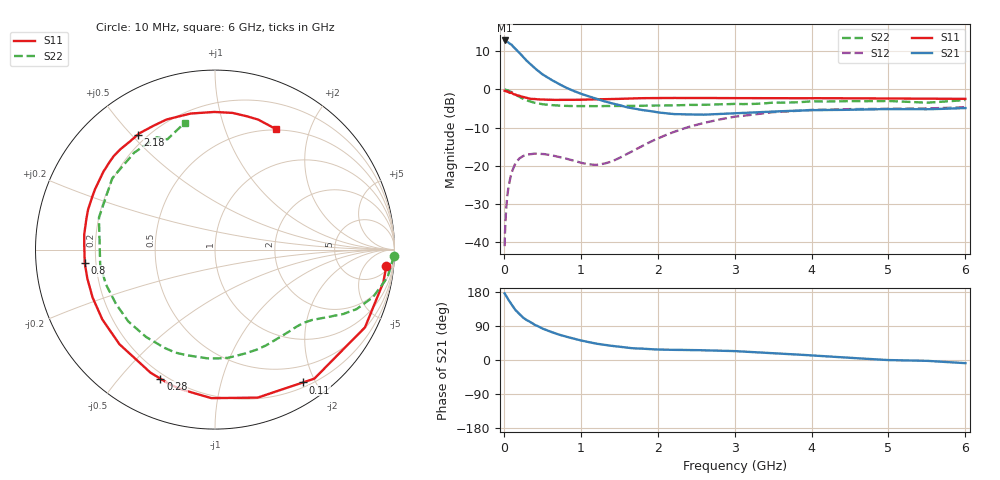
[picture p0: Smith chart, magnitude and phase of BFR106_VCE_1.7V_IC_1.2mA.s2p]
! Infineon Technologies  Discrete & RF Semiconductors
! BFR106
! VCE =  1.7 V,  IC =  1.2 mA
! Common Emitter S-Parameters:  Nov 2015
# GHz  S  MA  R  50
!  f  S11  S21  S12  S22
! GHz  MAG  ANG  MAG  ANG  MAG  ANG  MAG  ANG
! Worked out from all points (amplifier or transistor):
!   210 points, 10 MHz to 6 GHz, reference 50 ohm
!   highest |S21| = 12.8 dB at 10 MHz (marker M1)
!   |S21| within 3 dB of that: start of sweep to 189.5 MHz
!   unconditionally stable (mu >= 1): 837.2 MHz to end of sweep
!   at 185 MHz: K = 0.22, MSG = 14.2 dB, |S12| = -18.5 dB
!   at 1.52 GHz: K = 1.38, MAG = 3.1 dB, |S12| = -17.8 dB
!   at 6 GHz: K = 1.02, MAG = -1.0 dB, |S12| = -4.7 dB
!   S11 on the Smith chart (normalised r, x): 10 MHz: 7, -17; 110 MHz: 0.26, -1.83; 280 MHz: 0.18, -0.65; 800 MHz: 0.16, -0.05; 2.18 GHz: 0.16, +0.52; 6 GHz: 0.49, +1.52
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0.01  0.9593 -5.6  4.38 175.8  0.0088 87.5  0.9992 -2.0
0.025  0.9476 -13.8  4.327 171.0  0.0221 81.4  0.9872 -4.6
0.045  0.9383 -24.7  4.206 163.6  0.0398 75.2  0.9758 -8.2
0.1  0.9074 -52.4  3.862 146.5  0.0808 61.1  0.9191 -16.8
0.11  0.8879 -56.5  3.754 143.9  0.0857 58.1  0.9056 -17.9
0.15  0.8583 -73.9  3.414 131.9  0.107 49.1  0.8556 -22.8
0.16  0.846 -77.3  3.329 130.0  0.1102 47.2  0.8443 -23.5
0.24  0.8016 -103.0  2.736 114.0  0.1317 35.0  0.7599 -29.0
0.28  0.7809 -112.9  2.48 107.8  0.1373 30.7  0.7292 -31.1
0.4  0.7492 -135.3  1.902 93.0  0.1439 21.3  0.6674 -36.0
0.5  0.7386 -148.2  1.581 83.1  0.1428 16.7  0.6398 -39.6
0.6  0.7323 -158.7  1.368 75.0  0.1382 14.3  0.6242 -43.7
0.8  0.7297 -174.1  1.063 62.1  0.1245 13.6  0.6077 -52.6
1.02  0.7335 172.1  0.864 50.8  0.1082 20.9  0.6042 -63.1
1.4  0.7482 153.4  0.658 37.4  0.1131 49.2  0.6071 -83.1
2.02  0.7662 129.3  0.497 27.5  0.2315 63.8  0.6148 -118.1
2.18  0.7716 123.8  0.477 26.9  0.2694 62.1  0.6185 -127.2
2.6  0.7735 110.4  0.466 25.7  0.3632 53.4  0.6292 -151.2
3.1  0.7675 98.1  0.491 22.4  0.4496 40.7  0.6419 -177.1
4.1  0.7664 81.5  0.535 10.9  0.5396 18.3  0.6941 142.1
5.1  0.7612 70.6  0.551 -0.6  0.5585 3.0  0.6974 116.6
6  0.7513 63.0  0.569 -8.3  0.5835 -7.0  0.7258 103.5
